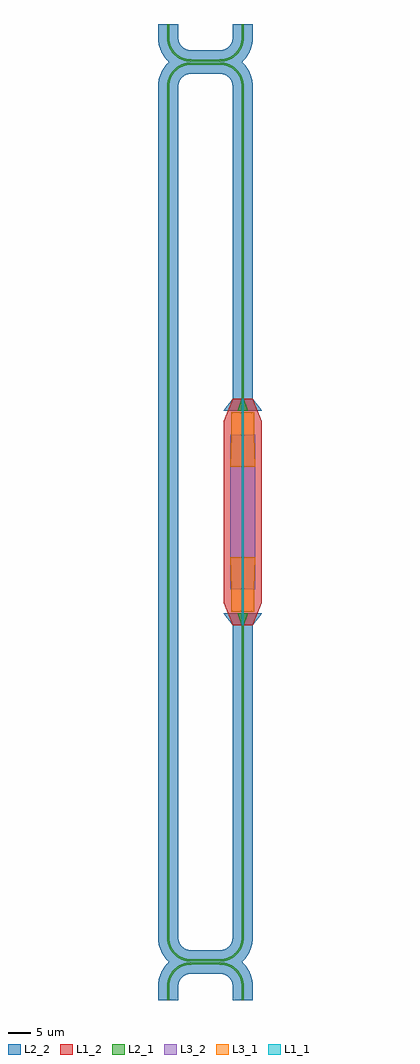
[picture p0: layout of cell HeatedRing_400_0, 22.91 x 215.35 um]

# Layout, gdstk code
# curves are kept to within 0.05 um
from math import pi, radians
import gdstk
lib = gdstk.Library(unit=1e-6, precision=1e-09)
def R(c, l, rs):  # rectangles x0, y0, x1, y1
    for r in rs: c.add(gdstk.rectangle(r[:2], r[2:], *l))
def P(c, l, *ps):  # polygons
    for p in ps: c.add(gdstk.Polygon(p, *l))
L1_1 = (1, 1)
L1_2 = (1, 2)
L2_1 = (2, 1)
L2_2 = (2, 2)
L3_1 = (3, 1)
L3_2 = (3, 2)

pcell_49_wg1a = lib.new_cell('pcell_49_wg1a')
P(pcell_49_wg1a, L2_1, [(-8.003,-8.398),(-7.997,-5.461),(-7.895,-4.404),(-7.718,-3.762),(-7.454,-3.15),(-7.107,-2.582),(-6.684,-2.067),(-5.759,-1.307),(-5.172,-0.992),(-4.547,-0.762),(-3.293,-0.571),(0,-0.559),(0,-0.109),(-3.311,-0.121),(-4.39,-0.257),(-5.087,-0.47),(-5.874,-0.85),(-6.474,-1.264),(-7.011,-1.758),(-7.556,-2.441),(-7.919,-3.074),(-8.232,-3.89),(-8.386,-4.602),(-8.447,-5.45),(-8.453,-8.398)])
P(pcell_49_wg1a, L2_2, [(-6.003,-8.398),(-5.949,-4.875),(-5.641,-4.002),(-5.121,-3.332),(-4.422,-2.849),(-3.61,-2.601),(0,-2.559),(0,1.891),(-3.843,1.85),(-4.84,1.692),(-5.804,1.398),(-6.892,0.871),(-7.878,0.171),(-8.733,-0.684),(-9.433,-1.67),(-10.029,-2.948),(-10.366,-4.317),(-10.446,-5.404),(-10.453,-8.398)])

pcell_49_wg2a = lib.new_cell('pcell_49_wg2a')
P(pcell_49_wg2a, L2_1, [(-8.453,8.398),(-8.441,5.251),(-8.305,4.172),(-8.092,3.475),(-7.784,2.815),(-7.387,2.203),(-6.909,1.653),(-6.359,1.175),(-5.747,0.778),(-5.087,0.47),(-4.39,0.257),(-3.311,0.121),(0,0.109),(0,0.559),(-3.293,0.571),(-4.547,0.762),(-5.645,1.238),(-6.591,1.971),(-7.324,2.917),(-7.8,4.015),(-7.983,5.092),(-8.003,8.398)])
P(pcell_49_wg2a, L2_2, [(-10.453,8.398),(-10.429,4.945),(-10.206,3.526),(-9.96,2.758),(-9.534,1.845),(-8.985,0.999),(-8.323,0.239),(-7.563,-0.423),(-6.717,-0.972),(-5.804,-1.398),(-5.036,-1.644),(-3.617,-1.867),(0,-1.891),(0,2.559),(-3.61,2.601),(-4.422,2.849),(-5.121,3.332),(-5.641,4.002),(-5.949,4.875),(-6.003,8.398)])

pcell_49_wg1b = lib.new_cell('pcell_49_wg1b')
P(pcell_49_wg1b, L2_1, [(0,-0.559),(3.101,-0.565),(4.158,-0.667),(4.8,-0.844),(5.412,-1.108),(5.98,-1.455),(6.495,-1.878),(7.255,-2.803),(7.57,-3.39),(7.8,-4.015),(7.983,-5.092),(8.003,-8.398),(8.453,-8.398),(8.441,-5.251),(8.305,-4.172),(8.092,-3.475),(7.712,-2.688),(7.298,-2.088),(6.804,-1.551),(6.121,-1.006),(5.488,-0.643),(4.672,-0.33),(3.96,-0.176),(3.112,-0.115),(0,-0.109)])
P(pcell_49_wg1b, L2_2, [(0,-2.559),(3.61,-2.601),(4.422,-2.849),(5.121,-3.332),(5.641,-4.002),(5.949,-4.875),(6.003,-8.398),(10.453,-8.398),(10.412,-4.719),(10.254,-3.722),(9.96,-2.758),(9.328,-1.498),(8.601,-0.532),(7.722,0.299),(6.717,0.972),(5.423,1.532),(4.245,1.804),(3.158,1.884),(0,1.891)])

pcell_49_wg2b = lib.new_cell('pcell_49_wg2b')
P(pcell_49_wg2b, L2_1, [(0,0.109),(3.311,0.121),(4.39,0.257),(5.087,0.47),(5.747,0.778),(6.359,1.175),(6.909,1.653),(7.387,2.203),(7.784,2.815),(8.092,3.475),(8.305,4.172),(8.441,5.251),(8.453,8.398),(8.003,8.398),(7.983,5.092),(7.8,4.015),(7.324,2.917),(6.591,1.971),(5.645,1.238),(4.547,0.762),(3.293,0.571),(0,0.559)])
P(pcell_49_wg2b, L2_2, [(0,-1.891),(3.617,-1.867),(5.036,-1.644),(5.804,-1.398),(6.717,-0.972),(7.563,-0.423),(8.323,0.239),(8.985,0.999),(9.534,1.845),(9.96,2.758),(10.206,3.526),(10.429,4.945),(10.453,8.398),(6.003,8.398),(5.949,4.875),(5.641,4.002),(5.121,3.332),(4.422,2.849),(3.61,2.601),(0,2.559)])

pcell_49 = lib.new_cell('pcell_49')
pcell_49.add(gdstk.Reference(pcell_49_wg1a, (0,0)))
pcell_49.add(gdstk.Reference(pcell_49_wg2a, (0,0)))
pcell_49.add(gdstk.Reference(pcell_49_wg1b, (0,0)))
pcell_49.add(gdstk.Reference(pcell_49_wg2b, (0,0)))

autotp_30_transition1 = lib.new_cell('AUTOTP_30_TRANSITION1')
P(autotp_30_transition1, L1_1, [(-15,0.255),(-15,-0.255),(-10,-0.225),(-10,0.225)])
P(autotp_30_transition1, L1_2, [(-15,2.225),(-15,0.255),(-15,-0.255),(-15,-2.225),(-10,-4.225),(-10,-0.225),(-10,0.225),(-10,4.225)])
P(autotp_30_transition1, L2_1, [(-15,0.225),(-15,-0.225),(-12.5,-1.125),(-12.35,-1.125),(-12.35,1.125),(-12.5,1.125)])
P(autotp_30_transition1, L2_2, [(-15,2.225),(-15,0.225),(-15,-0.225),(-15,-2.225),(-12.5,-4.225),(-12.35,-4.225),(-12.35,-1.125),(-12.35,1.125),(-12.35,4.225),(-12.5,4.225)])

autotp_30_transition2 = lib.new_cell('AUTOTP_30_TRANSITION2')
P(autotp_30_transition2, L1_1, [(35,-0.255),(35,0.255),(30,0.225),(30,-0.225)])
P(autotp_30_transition2, L1_2, [(35,-2.225),(35,-0.255),(35,0.255),(35,2.225),(30,4.225),(30,0.225),(30,-0.225),(30,-4.225)])
P(autotp_30_transition2, L2_1, [(35,-0.225),(35,0.225),(32.5,1.125),(32.35,1.125),(32.35,-1.125),(32.5,-1.125)])
P(autotp_30_transition2, L2_2, [(35,-2.225),(35,-0.225),(35,0.225),(35,2.225),(32.5,4.225),(32.35,4.225),(32.35,1.125),(32.35,-1.125),(32.35,-4.225),(32.5,-4.225)])

autotp_30 = lib.new_cell('AUTOTP_30')
R(autotp_30, L1_1, [(-10,-0.225,30,0.225)])
P(autotp_30, L1_2, [(-10,-4.225),(30,-4.225),(30,-0.225),(30,0.225),(30,4.225),(-10,4.225),(-10,0.225),(-10,-0.225)])
autotp_30.add(gdstk.Reference(autotp_30_transition1, (0,0)))
autotp_30.add(gdstk.Reference(autotp_30_transition2, (0,0)))

prg_titanium_phase_shift = lib.new_cell('prg_titanium_phase_shifter__33_TRES')
P(prg_titanium_phase_shift, L3_1, [(9.5,2.725),(2.5,2.5),(-2.5,2.5),(-2.5,-2.5),(2.5,-2.5),(9.5,-2.725)],
  [(29.5,-2.725),(36.5,-2.5),(41.5,-2.5),(41.5,2.5),(36.5,2.5),(29.5,2.725)])
R(prg_titanium_phase_shift, L3_2, [(2.5,-2.725,36.5,2.725)])

c_prg_titanium_phase_shift = lib.new_cell('prg_titanium_phase_shifter__33')
c_prg_titanium_phase_shift.add(gdstk.Reference(autotp_30, (0,0)))
c_prg_titanium_phase_shift.add(gdstk.Reference(prg_titanium_phase_shift, (-9.5,0)))

wg_trace_58 = lib.new_cell('WG_TRACE_58')
R(wg_trace_58, L2_1, [(0,-0.225,65.881,0.225)])
P(wg_trace_58, L2_2, [(0,-2.225),(65.881,-2.225),(65.881,-0.225),(65.881,0.225),(65.881,2.225),(0,2.225),(0,0.225),(0,-0.225)])

wg_trace_59 = lib.new_cell('WG_TRACE_59')
R(wg_trace_59, L2_1, [(0,-0.225,181.644,0.225)])
P(wg_trace_59, L2_2, [(0,-2.225),(181.644,-2.225),(181.644,-0.225),(181.644,0.225),(181.644,2.225),(0,2.225),(0,0.225),(0,-0.225)])

heatedring_400_0 = lib.new_cell('HeatedRing_400_0')
heatedring_400_0.add(gdstk.Reference(pcell_49, (0,0)))
heatedring_400_0.add(gdstk.Reference(pcell_49, (0,-198.558), rotation=pi))
heatedring_400_0.add(gdstk.Reference(c_prg_titanium_phase_shift, (8.228,-89.279), rotation=3*pi/2))
heatedring_400_0.add(gdstk.Reference(wg_trace_58, (8.228,-8.398), rotation=3*pi/2))
heatedring_400_0.add(gdstk.Reference(wg_trace_58, (8.228,-124.279), rotation=3*pi/2))
heatedring_400_0.add(gdstk.Reference(wg_trace_59, (-8.228,-190.042), rotation=pi/2))

lib.write_gds('HeatedRing_400_0.gds')
